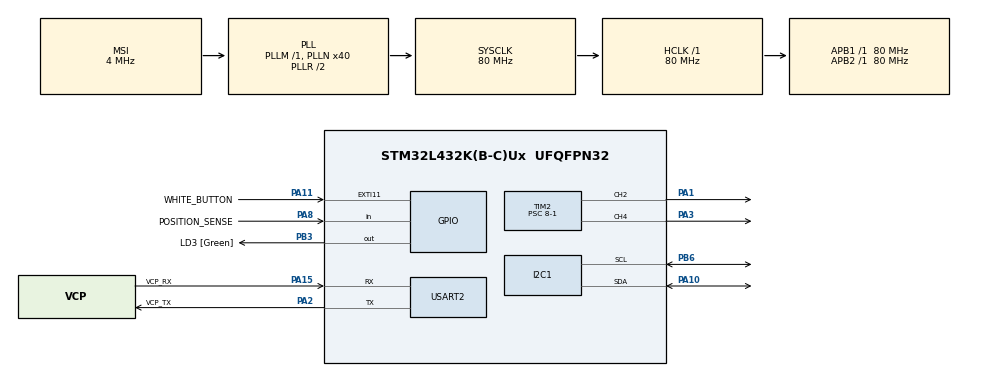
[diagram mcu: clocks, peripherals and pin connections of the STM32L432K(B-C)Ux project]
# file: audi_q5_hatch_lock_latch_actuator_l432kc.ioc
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I2C1.Timing=0x10D19CE4
Mcu.Family=STM32L4
Mcu.Name=STM32L432K(B-C)Ux
Mcu.Package=UFQFPN32
NVIC.EXTI15_10_IRQn=true\:0\:0\:false\:false\:true\:true\:true\:true
NVIC.PriorityGroup=NVIC_PRIORITYGROUP_4
PA0.GPIO_Label=MCO [High speed clock in]
PA0.Mode=HSE-External-Clock-Source-for-LittleOrca
PA0.Signal=RCC_CK_IN
PA1.Signal=S_TIM2_CH2
PA10.Mode=I2C
PA10.Signal=I2C1_SDA
PA11.GPIO_Label=WHITE_BUTTON
PA11.GPIO_ModeDefaultEXTI=GPIO_MODE_IT_FALLING
PA11.GPIO_PuPd=GPIO_PULLUP
PA11.Signal=GPXTI11
PA13\ (JTMS-SWDIO).GPIO_Label=SWDIO
PA13\ (JTMS-SWDIO).Mode=Serial_Wire
PA13\ (JTMS-SWDIO).Signal=SYS_JTMS-SWDIO
PA14\ (JTCK-SWCLK).GPIO_Label=SWCLK
PA14\ (JTCK-SWCLK).Mode=Serial_Wire
PA14\ (JTCK-SWCLK).Signal=SYS_JTCK-SWCLK
PA15\ (JTDI).GPIO_Label=VCP_RX
PA15\ (JTDI).Mode=Asynchronous
PA15\ (JTDI).Signal=USART2_RX
PA2.GPIO_Label=VCP_TX
PA2.Mode=Asynchronous
PA2.Signal=USART2_TX
PA3.Signal=S_TIM2_CH4
PA8.GPIO_Label=POSITION_SENSE
PA8.Signal=GPIO_Input
PB3\ (JTDO-TRACESWO).GPIO_Label=LD3 [Green]
PB3\ (JTDO-TRACESWO).Signal=GPIO_Output
PB6.Mode=I2C
PB6.Signal=I2C1_SCL
PC14-OSC32_IN\ (PC14).Mode=LSE-External-Oscillator
PC14-OSC32_IN\ (PC14).Signal=RCC_OSC32_IN
PC15-OSC32_OUT\ (PC15).Mode=LSE-External-Oscillator
PC15-OSC32_OUT\ (PC15).Signal=RCC_OSC32_OUT
ProjectManager.HeapSize=0x200
ProjectManager.StackSize=0x400
ProjectManager.TargetToolchain=STM32CubeIDE
RCC.AHBFreq_Value=80000000
RCC.APB1Freq_Value=80000000
RCC.APB1TimFreq_Value=80000000
RCC.APB2Freq_Value=80000000
RCC.APB2TimFreq_Value=80000000
RCC.CortexFreq_Value=80000000
RCC.HCLKFreq_Value=80000000
RCC.HSE_VALUE=8000000
RCC.HSI16_VALUE=16000000
RCC.HSI48_VALUE=48000000
RCC.HSI_VALUE=16000000
RCC.MSI_VALUE=4000000
RCC.PLLMUL=RCC_PLLMUL_4
RCC.PLLN=40
RCC.SYSCLKFreq_VALUE=80000000
RCC.SYSCLKSource=RCC_SYSCLKSOURCE_PLLCLK
RCC.VCOOutputFreq_Value=160000000
SH.S_TIM2_CH2.0=TIM2_CH2,PWM Generation2 CH2
SH.S_TIM2_CH4.0=TIM2_CH4,PWM Generation4 CH4
TIM2.Channel-PWM\ Generation2\ CH2=TIM_CHANNEL_2
TIM2.Channel-PWM\ Generation4\ CH4=TIM_CHANNEL_4
TIM2.CounterMode=TIM_COUNTERMODE_CENTERALIGNED1
TIM2.OCMode_PWM-PWM\ Generation2\ CH2=TIM_OCMODE_PWM1
TIM2.OCMode_PWM-PWM\ Generation4\ CH4=TIM_OCMODE_PWM1
TIM2.Period=1000
TIM2.Prescaler=8-1
TIM2.Pulse-PWM\ Generation2\ CH2=500
TIM2.Pulse-PWM\ Generation4\ CH4=500
USART2.VirtualMode-Asynchronous=VM_ASYNC
VP_TIM2_VS_ClockSourceINT.Mode=Internal
board=NUCLEO-L432KC

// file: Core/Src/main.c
/* USER CODE BEGIN Header */
/**
 ******************************************************************************
 * @file           : main.c
 * @brief          : Main program body
 ******************************************************************************
 * @attention
 *
 * Copyright (c) 2026 STMicroelectronics.
 * All rights reserved.
 *
 * This software is licensed under terms that can be found in the LICENSE file
 * in the root directory of this software component.
 * If no LICENSE file comes with this software, it is provided AS-IS.
 *
 ******************************************************************************
 */
/* USER CODE END Header */
#include "main.h"
#include "i2c.h"
#include "tim.h"
#include "usart.h"
#include "gpio.h"

/* USER CODE BEGIN Includes */
#include <stdio.h>
#include "ssd1306.h"
/* USER CODE END Includes */

/* USER CODE BEGIN PD */
#define PWM_ARR 1000
#define PWM_MID_CCR 500

#define OLED_REFRESH_RATE 200 // ms
#define HATCH_PULDOWN_TIME 3000
/* USER CODE END PD */

/* USER CODE BEGIN PV */
volatile uint16_t pwm_ccr = PWM_MID_CCR;
volatile uint8_t white_button_pressed_flag = 0;

uint32_t softTimerMotor;
uint32_t softTimerOLED;
char lcd_line[32];
/* USER CODE END PV */

void SystemClock_Config(void);

int main(void)
{

	/* MCU Configuration--------------------------------------------------------*/

	/* Reset of all peripherals, Initializes the Flash interface and the Systick. */
	HAL_Init();

	/* Configure the system clock */
	SystemClock_Config();

	/* Initialize all configured peripherals */
	MX_GPIO_Init();
	MX_USART2_UART_Init();
	MX_I2C1_Init();
	MX_TIM2_Init();
	/* USER CODE BEGIN 2 */
	ssd1306_Init();
	ssd1306_Fill(Black);
	ssd1306_SetCursor(24, 2);
	ssd1306_WriteString("ufnalski.edu.pl", Font_6x8, White);
	ssd1306_SetCursor(6, 16);
	ssd1306_WriteString("Audi Q5 (2019) hatch", Font_6x8, White);
	ssd1306_SetCursor(2, 30);
	ssd1306_WriteString("latch pull-down motor", Font_6x8, White);
	ssd1306_UpdateScreen();

	softTimerOLED = HAL_GetTick();
	softTimerMotor = HAL_GetTick();

	__HAL_TIM_SET_COMPARE(&htim2, TIM_CHANNEL_2, PWM_MID_CCR);
	HAL_TIM_PWM_Start(&htim2, TIM_CHANNEL_2); // PWM_L
	__HAL_TIM_SET_COMPARE(&htim2, TIM_CHANNEL_4, PWM_ARR - PWM_MID_CCR);
	HAL_TIM_PWM_Start(&htim2, TIM_CHANNEL_4); // PWM_R
	/* USER CODE END 2 */

	/* Infinite loop */
	/* USER CODE BEGIN WHILE */
	while (1)
	{
		if (HAL_GetTick() - softTimerOLED > OLED_REFRESH_RATE)
		{
			softTimerOLED = HAL_GetTick();

			ssd1306_SetCursor(2, 50);
			if (HAL_GPIO_ReadPin(POSITION_SENSE_GPIO_Port, POSITION_SENSE_Pin)
					== GPIO_PIN_RESET)
			{
				ssd1306_WriteString("Actuator: ready.    ", Font_6x8, White);
			}
			else
			{
				if (pwm_ccr == PWM_MID_CCR)
				{
					ssd1306_WriteString("Actuator: returning.", Font_6x8,
							White);
				}
				else
				{
					ssd1306_WriteString("Actuator: pulling.  ", Font_6x8,
							White);
				}
			}
			ssd1306_UpdateScreen();
		}

		// Neglect button presses if not in home position
		if ((white_button_pressed_flag == 1)
				&& (HAL_GPIO_ReadPin(POSITION_SENSE_GPIO_Port,
				POSITION_SENSE_Pin) == GPIO_PIN_SET))
		{
			white_button_pressed_flag = 0;
		}

		// Start pulling if button pressed
		if ((white_button_pressed_flag == 1)
				&& (HAL_GPIO_ReadPin(POSITION_SENSE_GPIO_Port,
				POSITION_SENSE_Pin) == GPIO_PIN_RESET))
		{
			white_button_pressed_flag = 0;
			pwm_ccr = 150;
			__HAL_TIM_SET_COMPARE(&htim2, TIM_CHANNEL_2, pwm_ccr);
			__HAL_TIM_SET_COMPARE(&htim2, TIM_CHANNEL_4, PWM_ARR - pwm_ccr);
			softTimerMotor = HAL_GetTick();
		}

		// Stop pulling after a given amount of time - my guess is that the original circuitry includes current sensing
		if (HAL_GetTick() - softTimerMotor > HATCH_PULDOWN_TIME)
		{
			pwm_ccr = PWM_MID_CCR;
			__HAL_TIM_SET_COMPARE(&htim2, TIM_CHANNEL_2, pwm_ccr);
			__HAL_TIM_SET_COMPARE(&htim2, TIM_CHANNEL_4, PWM_ARR - pwm_ccr);
		}

		/* USER CODE END WHILE */

	}
}

void SystemClock_Config(void)
{
	RCC_OscInitTypeDef RCC_OscInitStruct =
	{ 0 };
	RCC_ClkInitTypeDef RCC_ClkInitStruct =
	{ 0 };

	/** Configure the main internal regulator output voltage
	 */
	if (HAL_PWREx_ControlVoltageScaling(PWR_REGULATOR_VOLTAGE_SCALE1) != HAL_OK)
	{
		Error_Handler();
	}

	/** Configure LSE Drive Capability
	 */
	HAL_PWR_EnableBkUpAccess();
	__HAL_RCC_LSEDRIVE_CONFIG(RCC_LSEDRIVE_LOW);

	/** Initializes the RCC Oscillators according to the specified parameters
	 * in the RCC_OscInitTypeDef structure.
	 */
	RCC_OscInitStruct.OscillatorType = RCC_OSCILLATORTYPE_LSE
			| RCC_OSCILLATORTYPE_MSI;
	RCC_OscInitStruct.LSEState = RCC_LSE_ON;
	RCC_OscInitStruct.MSIState = RCC_MSI_ON;
	RCC_OscInitStruct.MSICalibrationValue = 0;
	RCC_OscInitStruct.MSIClockRange = RCC_MSIRANGE_6;
	RCC_OscInitStruct.PLL.PLLState = RCC_PLL_ON;
	RCC_OscInitStruct.PLL.PLLSource = RCC_PLLSOURCE_MSI;
	RCC_OscInitStruct.PLL.PLLM = 1;
	RCC_OscInitStruct.PLL.PLLN = 40;
	RCC_OscInitStruct.PLL.PLLP = RCC_PLLP_DIV7;
	RCC_OscInitStruct.PLL.PLLQ = RCC_PLLQ_DIV2;
	RCC_OscInitStruct.PLL.PLLR = RCC_PLLR_DIV2;
	if (HAL_RCC_OscConfig(&RCC_OscInitStruct) != HAL_OK)
	{
		Error_Handler();
	}

	/** Initializes the CPU, AHB and APB buses clocks
	 */
	RCC_ClkInitStruct.ClockType = RCC_CLOCKTYPE_HCLK | RCC_CLOCKTYPE_SYSCLK
			| RCC_CLOCKTYPE_PCLK1 | RCC_CLOCKTYPE_PCLK2;
	RCC_ClkInitStruct.SYSCLKSource = RCC_SYSCLKSOURCE_PLLCLK;
	RCC_ClkInitStruct.AHBCLKDivider = RCC_SYSCLK_DIV1;
	RCC_ClkInitStruct.APB1CLKDivider = RCC_HCLK_DIV1;
	RCC_ClkInitStruct.APB2CLKDivider = RCC_HCLK_DIV1;

	if (HAL_RCC_ClockConfig(&RCC_ClkInitStruct, FLASH_LATENCY_4) != HAL_OK)
	{
		Error_Handler();
	}

	/** Enable MSI Auto calibration
	 */
	HAL_RCCEx_EnableMSIPLLMode();
}

/* USER CODE BEGIN 4 */
void HAL_GPIO_EXTI_Callback(uint16_t GPIO_Pin)
{
	if (GPIO_Pin == WHITE_BUTTON_Pin)
	{
		white_button_pressed_flag = 1;
	}
}
/* USER CODE END 4 */

void Error_Handler(void)
{
	__disable_irq();
	while (1)
	{
	}
}
